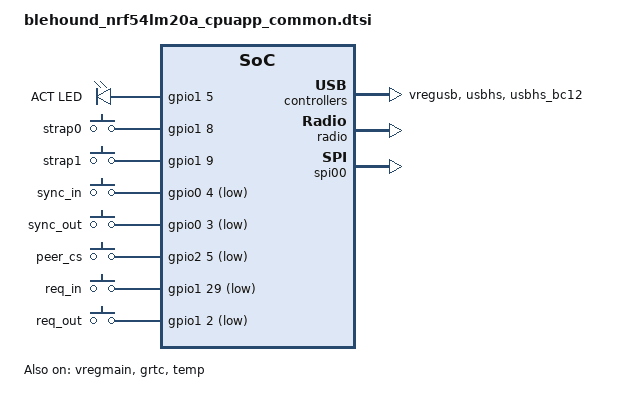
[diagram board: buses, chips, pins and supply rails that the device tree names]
/*
 * BLEhound board definition, derived from the Zephyr nRF54LM20 DK board
 * (boards/nordic/nrf54lm20dk, Copyright (c) 2025 Nordic Semiconductor ASA).
 *
 * SPDX-License-Identifier: Apache-2.0
 */

/*
 * Shared by every BLEhound board revision (blehound_v1, blehound_v2): what is identical on all three
 * chips (A/B/C) and on both PCB revisions.
 *   - SoC peripheral enables (trimmed to what the sniffer board actually has: no VCOM UART, buttons,
 *     NFC, ADC, PWM, 802.15.4 or expansion header)
 *   - ACT LED, strap / SYNC / inter-chip REQ+CS lines, and the aliases the firmware looks up
 * Revision-specific pins (inter-chip SPIM00 pinctrl, nRF21540 FEM control port) live in each board's
 * own .dts / -pinctrl.dtsi. Pin numbers below were verified pin by pin against the board netlist.
 */

#include <nordic/nrf54lm20_a_b_cpuapp.dtsi>
#include <zephyr/dt-bindings/gpio/gpio.h>

/ {
	chosen {
		zephyr,flash-controller = &rram_controller;
		zephyr,flash = &cpuapp_rram;
		zephyr,usb-bc12 = &usbhs_bc12;
	};

	/* ACT LED: P1.05 -> R -> green LED -> GND, lit on high. */
	leds {
		compatible = "gpio-leds";

		led0: led_0 {
			gpios = <&gpio1 5 GPIO_ACTIVE_HIGH>;
			label = "ACT LED";
		};
	};

	/*
	 * strap: 2 GPIOs encoding board_id and the advertising channel guarded (design 4.5);
	 * for how it is read see firmware/src/board_role.c.
	 *   strap0 = TD0 = P1.08 (debug header pin4); strap1 = TD1 = P1.09 (header pin6). Both are right next
	 *   to GND (pin3), so the jumpers are short.
	 *   Input + pull-up: tied to GND reads 0, tied to 3V3 (pin1) reads 1 (floating also reads 1 via the
	 *   internal pull-up, but both the first-batch flywire and the revised PCB tie to 3V3 explicitly).
	 *   code = (strap1 << 1) | strap0, matching the board_role.c table:
	 *     J3/U1 (A, code 00 -> guard 37): pin4->GND and pin6->GND
	 *     J6/U2 (B, code 10 -> guard 38): pin4->GND, pin6->3V3
	 *     J9/U3 (C, code 01 -> guard 39): pin6->GND, pin4->3V3
	 *   Not wired: both read 1 (= 11, reserved), board_role falls back to id=0 guarding 37, so all three
	 *   guard 37 (degenerates to single-chip, still captures).
	 */
	tri_straps {
		compatible = "gpio-keys";
		strap0: strap_0 {
			gpios = <&gpio1 8 GPIO_ACTIVE_HIGH>;
			zephyr,code = <1>;
		};
		strap1: strap_1 {
			gpios = <&gpio1 9 GPIO_ACTIVE_HIGH>;
			zephyr,code = <2>;
		};
	};

	/*
	 * SYNC sync line (design 5.2): one open-drain line shared by all three chips, two pins per chip:
	 *   input  sync_in  = P0.04 = TD3 = header pin10 (gpio0/gpiote30, edge-interrupt capture for a shared time base)
	 *   output sync_out = P0.03 = TD2 = header pin8  (open-drain drive-low, released normally; this pin **must not**
	 *                     have any GPIOTE attached)
	 *   pin8<->pin10 are joined on each chip (flywire jumper on V1, PCB trace on V2) and pin10 is bused across
	 *   the three chips. No external pull-up; sync_in enables the internal pull-up (three in parallel ~4k, fine
	 *   for the ~1Hz SYNC edges).
	 * Why it can't be a single pin: on the nRF54L GPIOTE, as soon as a channel's IN event is configured on
	 *   pin n, that pin's output value is updated only by GPIOTE and any write from the GPIO side is ignored;
	 *   MODE=Disabled does not truly disconnect it either. Observed on real hardware 2026-09-19: a pin that
	 *   had had an IN interrupt attached stayed permanently high on its pad after push-pull drive-low, while
	 *   an identical pin that never had an interrupt attached pulled low normally. So capture and drive must
	 *   be separate pins, joined externally.
	 */
	tri_sync {
		compatible = "gpio-keys";
		sync_in: sync_in {
			gpios = <&gpio0 4 (GPIO_PULL_UP | GPIO_ACTIVE_LOW)>;
			zephyr,code = <3>;
		};
		sync_out: sync_out {
			gpios = <&gpio0 3 GPIO_ACTIVE_LOW>;
			zephyr,code = <4>;
		};
	};

	/*
	 * Inter-chip link (design 4.2): per chip a downstream master port SPIM00 (pins in the board pinctrl) +
	 * CS and two REQ lines:
	 *   CS = P2.05 (GPIO, attached to spi_config at runtime by peer_link)
	 *   REQ_IN (the downstream slave calling me) = P1.29; REQ_OUT (me calling the upstream master) = P1.02
	 * The upstream slave port SPIS (P1.30/P1.31/P1.00/P1.01) is board bring-up work; peer_link does not
	 * load SPIS yet, so it is not claimed here.
	 */
	tri_peer {
		compatible = "gpio-keys";
		peer_cs: peer_cs {
			gpios = <&gpio2 5 GPIO_ACTIVE_LOW>;
			zephyr,code = <5>;
		};
		req_in: req_in {
			gpios = <&gpio1 29 (GPIO_PULL_UP | GPIO_ACTIVE_LOW)>;
			zephyr,code = <6>;
		};
		req_out: req_out {
			gpios = <&gpio1 2 GPIO_ACTIVE_LOW>;
			zephyr,code = <7>;
		};
	};

	aliases {
		led0 = &led0;
		tri-strap0 = &strap0;
		tri-strap1 = &strap1;
		tri-sync-in = &sync_in;
		tri-sync-out = &sync_out;
		tri-peer-cs = &peer_cs;
		tri-req-in = &req_in;
		tri-req-out = &req_out;
		tri-peer-spi = &spi00;
		/* nRF21540 FEM control port: the nodes are defined per board revision (pins moved on V2). */
		fem-pdn = &fem_pdn;
		fem-rxen = &fem_rxen;
		fem-txen = &fem_txen;
		fem-antsel = &fem_antsel;
		fem-mode = &fem_mode;
		fem-csn = &fem_csn;
		fem-sck = &fem_sck;
		fem-mosi = &fem_mosi;
	};
};

&cpuapp_sram {
	status = "okay";
};

&hfpll {
	clock-frequency = <DT_FREQ_M(128)>;
};

/*
 * The board has **no 32.768 kHz crystal** (XL1/XL2 = P1.00/P1.01 are used as inter-chip SPI GPIOs);
 * LFCLK runs from the internal RC (CONFIG_CLOCK_CONTROL_NRF_K32SRC_RC in the board defconfig).
 * The lfxo node values are inherited from the DK and unused.
 */
&lfxo {
	load-capacitors = "internal";
	load-capacitance-femtofarad = <17000>;
};

/* 32 MHz crystal: the radio timing depends on it. Load caps inherited from the DK design. */
&hfxo {
	load-capacitors = "internal";
	load-capacitance-femtofarad = <15000>;
};

&vregmain {
	status = "okay";
	regulator-initial-mode = <NRF5X_REG_MODE_DCDC>;
};

&vregusb {
	status = "okay";
};

&grtc {
	owned-channels = <0 1 2 3 4 5 6 7 8 9 10 11>;
	/* Channels 7-11 reserved for Zero Latency IRQs, 3-4 for FLPR */
	child-owned-channels = <3 4 7 8 9 10 11>;
	status = "okay";
};

&gpio0 {
	status = "okay";
};

&gpio1 {
	status = "okay";
};

&gpio2 {
	status = "okay";
};

&gpio3 {
	status = "okay";
};

&gpiote20 {
	status = "okay";
};

&gpiote30 {
	status = "okay";
};

&radio {
	status = "okay";
};

&clock {
	status = "okay";
};

/* On-chip temperature sensor: the LFRC calibration (K32SRC_RC_CALIBRATION) uses it to skip calibrations while the
 * temperature is stable (CLOCK_CONTROL_NRF_USES_TEMP_SENSOR). */
temp_sensor: &temp {
	status = "okay";
};

/* USB-C data port (CDC ACM to the host); the CDC ACM function itself is added by the application (app.overlay). */
zephyr_udc0: &usbhs {
	status = "okay";
};

&usbhs_bc12 {
	status = "okay";
};

/* Inter-chip downstream master port; pinctrl (spi00_default / spi00_sleep) comes from the board's -pinctrl.dtsi. */
&spi00 {
	status = "okay";
	cs-gpios = <&gpio2 5 GPIO_ACTIVE_LOW>;
	pinctrl-0 = <&spi00_default>;
	pinctrl-1 = <&spi00_sleep>;
	pinctrl-names = "default", "sleep";
};
